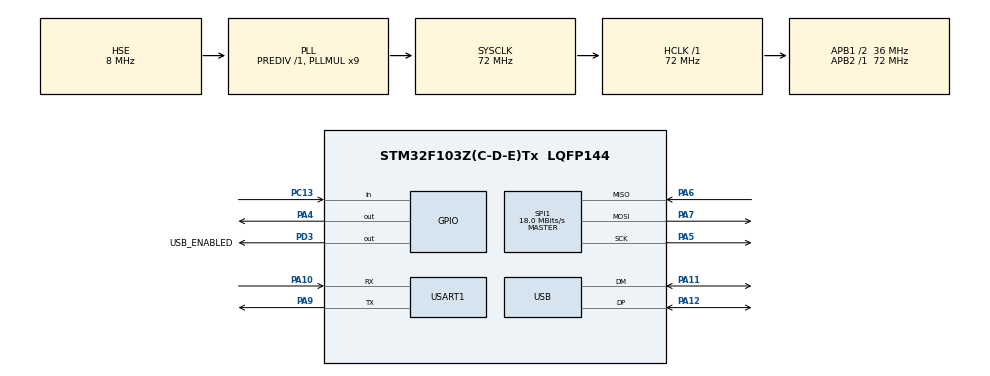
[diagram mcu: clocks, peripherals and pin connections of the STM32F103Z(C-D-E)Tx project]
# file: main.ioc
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FATFS._CODE_PAGE=936
FATFS._MAX_SS=4096
FATFS._USE_FIND=1
FATFS._USE_LABEL=1
FATFS._USE_LFN=2
Mcu.Family=STM32F1
Mcu.Name=STM32F103Z(C-D-E)Tx
Mcu.Package=LQFP144
NVIC.PriorityGroup=NVIC_PRIORITYGROUP_4
NVIC.USB_LP_CAN1_RX0_IRQn=true\:0\:0\:false\:false\:true\:false\:true
OSC_IN.Mode=HSE-External-Oscillator
OSC_IN.Signal=RCC_OSC_IN
OSC_OUT.Mode=HSE-External-Oscillator
OSC_OUT.Signal=RCC_OSC_OUT
PA10.Mode=Asynchronous
PA10.Signal=USART1_RX
PA11.Mode=Device
PA11.Signal=USB_DM
PA12.Mode=Device
PA12.Signal=USB_DP
PA13.Mode=Serial_Wire
PA13.Signal=SYS_JTMS-SWDIO
PA14.Mode=Serial_Wire
PA14.Signal=SYS_JTCK-SWCLK
PA4.GPIO_Speed=GPIO_SPEED_FREQ_HIGH
PA4.Signal=GPIO_Output
PA5.Mode=Full_Duplex_Master
PA5.Signal=SPI1_SCK
PA6.Mode=Full_Duplex_Master
PA6.Signal=SPI1_MISO
PA7.Mode=Full_Duplex_Master
PA7.Signal=SPI1_MOSI
PA9.Mode=Asynchronous
PA9.Signal=USART1_TX
PC13-TAMPER-RTC.GPIO_PuPd=GPIO_PULLUP
PC13-TAMPER-RTC.Signal=GPIO_Input
PD3.GPIO_Label=USB_ENABLED
PD3.GPIO_Speed=GPIO_SPEED_FREQ_HIGH
PD3.Signal=GPIO_Output
ProjectManager.HeapSize=0x2000
ProjectManager.StackSize=0x2000
ProjectManager.TargetToolchain=MDK-ARM V5
RCC.AHBFreq_Value=72000000
RCC.APB1CLKDivider=RCC_HCLK_DIV2
RCC.APB1Freq_Value=36000000
RCC.APB1TimFreq_Value=72000000
RCC.APB2Freq_Value=72000000
RCC.APB2TimFreq_Value=72000000
RCC.HCLKFreq_Value=72000000
RCC.PLLMUL=RCC_PLL_MUL9
RCC.SYSCLKFreq_VALUE=72000000
RCC.SYSCLKSource=RCC_SYSCLKSOURCE_PLLCLK
RCC.USBFreq_Value=48000000
RCC.USBPrescaler=RCC_USBCLKSOURCE_PLL_DIV1_5
SPI1.BaudRatePrescaler=SPI_BAUDRATEPRESCALER_4
SPI1.CLKPhase=SPI_PHASE_2EDGE
SPI1.CLKPolarity=SPI_POLARITY_HIGH
SPI1.CalculateBaudRate=18.0 MBits/s
SPI1.Direction=SPI_DIRECTION_2LINES
SPI1.Mode=SPI_MODE_MASTER
SPI1.VirtualType=VM_MASTER
USART1.VirtualMode=VM_ASYNC
USB_DEVICE.CLASS_NAME_FS=MSC
USB_DEVICE.MSC_MEDIA_PACKET=4096
USB_DEVICE.VirtualMode=Msc
USB_DEVICE.VirtualModeFS=Msc_FS
VP_FATFS_VS_Generic.Mode=User_defined
VP_USB_DEVICE_VS_USB_DEVICE_MSC_FS.Mode=MSC_FS
board=custom

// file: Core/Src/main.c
/* USER CODE BEGIN Header */
/**
  ******************************************************************************
  * @file           : main.c
  * @brief          : Main program body
  ******************************************************************************
  * @attention
  *
  * <h2><center>&copy; Copyright (c) 2021 STMicroelectronics.
  * All rights reserved.</center></h2>
  *
  * This software component is licensed by ST under Ultimate Liberty license
  * SLA0044, the "License"; You may not use this file except in compliance with
  * the License. You may obtain a copy of the License at:
  *                             www.st.com/SLA0044
  *
  ******************************************************************************
  */
/* USER CODE END Header */
#include "main.h"
#include "fatfs.h"
#include "spi.h"
#include "usart.h"
#include "usb_device.h"
#include "gpio.h"

/* USER CODE BEGIN Includes */
#include "ff.h"
#include <bsp_spi_flash.h>
/* USER CODE END Includes */

void SystemClock_Config(void);

/* USER CODE BEGIN 0 */
//定义printf的重定向函数fputc，满足串口调试打印
int fputc(int ch, FILE* file)
{
    HAL_UART_Transmit(&huart1, (uint8_t*)&ch, 1, 1000);
    return ch;
}

/*挂载文件系统*/
uint8_t work[_MAX_SS] ;
uint8_t Mount_Fatfs(void)
{
    retUSER = f_mount(&USERFatFS, USERPath, 1);

    if(retUSER != FR_OK)
    {
        printf("spi-flash文件系统挂载失败\r\n");
        return 1 ;
    }

    printf("spi-flash文件系统挂载成功\r\n");
    return 0 ;
}

/* USER CODE END 0 */

int main(void)
{

    /* MCU Configuration--------------------------------------------------------*/

    /* Reset of all peripherals, Initializes the Flash interface and the Systick. */
    HAL_Init();

    /* Configure the system clock */
    SystemClock_Config();

    /* Initialize all configured peripherals */
    MX_GPIO_Init();
    MX_SPI1_Init();
    MX_USART1_UART_Init();
    MX_FATFS_Init();
    MX_USB_DEVICE_Init();
    /* USER CODE BEGIN 2 */
    HAL_Delay(2);
    SPI_FLASH_Init();
    /*挂载SPI FLASH*/
    Mount_Fatfs();
    /* USER CODE END 2 */

    /* Infinite loop */
    while (1)
    {

        /* USER CODE BEGIN 3 */
        if(HAL_GPIO_ReadPin(GPIOC, GPIO_PIN_13) == GPIO_PIN_SET)
        {
            HAL_Delay(100);

            if(HAL_GPIO_ReadPin(GPIOC, GPIO_PIN_13) == GPIO_PIN_SET)
            {
                printf("有按键按下...擦除第一个扇区，其实就是把FAT分区表删掉了!\n");
                SPI_FLASH_SectorErase(0);
                printf("即将重启!\n");
                HAL_NVIC_SystemReset();
            }
        }
    }

    /* USER CODE END 3 */
}

void SystemClock_Config(void)
{
    RCC_OscInitTypeDef RCC_OscInitStruct = {0};
    RCC_ClkInitTypeDef RCC_ClkInitStruct = {0};
    RCC_PeriphCLKInitTypeDef PeriphClkInit = {0};

    /** Initializes the RCC Oscillators according to the specified parameters
    * in the RCC_OscInitTypeDef structure.
    */
    RCC_OscInitStruct.OscillatorType = RCC_OSCILLATORTYPE_HSE;
    RCC_OscInitStruct.HSEState = RCC_HSE_ON;
    RCC_OscInitStruct.HSEPredivValue = RCC_HSE_PREDIV_DIV1;
    RCC_OscInitStruct.HSIState = RCC_HSI_ON;
    RCC_OscInitStruct.PLL.PLLState = RCC_PLL_ON;
    RCC_OscInitStruct.PLL.PLLSource = RCC_PLLSOURCE_HSE;
    RCC_OscInitStruct.PLL.PLLMUL = RCC_PLL_MUL9;

    if (HAL_RCC_OscConfig(&RCC_OscInitStruct) != HAL_OK)
    {
        Error_Handler();
    }

    /** Initializes the CPU, AHB and APB buses clocks
    */
    RCC_ClkInitStruct.ClockType = RCC_CLOCKTYPE_HCLK | RCC_CLOCKTYPE_SYSCLK
                                  | RCC_CLOCKTYPE_PCLK1 | RCC_CLOCKTYPE_PCLK2;
    RCC_ClkInitStruct.SYSCLKSource = RCC_SYSCLKSOURCE_PLLCLK;
    RCC_ClkInitStruct.AHBCLKDivider = RCC_SYSCLK_DIV1;
    RCC_ClkInitStruct.APB1CLKDivider = RCC_HCLK_DIV2;
    RCC_ClkInitStruct.APB2CLKDivider = RCC_HCLK_DIV1;

    if (HAL_RCC_ClockConfig(&RCC_ClkInitStruct, FLASH_LATENCY_2) != HAL_OK)
    {
        Error_Handler();
    }

    PeriphClkInit.PeriphClockSelection = RCC_PERIPHCLK_USB;
    PeriphClkInit.UsbClockSelection = RCC_USBCLKSOURCE_PLL_DIV1_5;

    if (HAL_RCCEx_PeriphCLKConfig(&PeriphClkInit) != HAL_OK)
    {
        Error_Handler();
    }
}

void Error_Handler(void)
{
}

/************************ (C) COPYRIGHT STMicroelectronics *****END OF FILE****/
